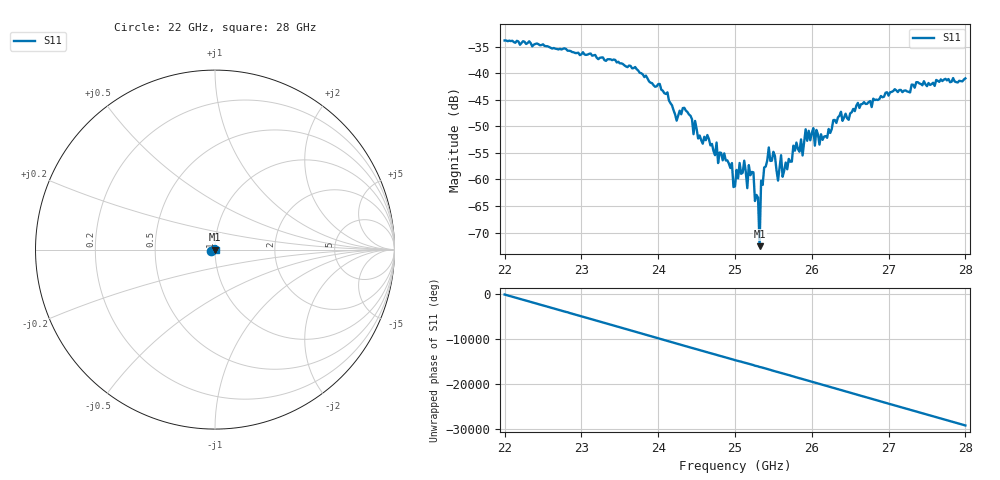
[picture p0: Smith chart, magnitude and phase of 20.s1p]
#  HZ  S  RI  R  50.00
! Rohde & Schwarz ZVA40 4Ports - Version 3.90 - 1145.1110k42 SN: 100403
! Date: 2023-10-04 08:36:26
! Measurement: S12
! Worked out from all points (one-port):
!   301 points, 22 GHz to 28 GHz, reference 50 ohm
!   lowest |S11| = -72.6 dB at 25.32 GHz (marker M1), VSWR 1.00, Z = 50 - j0.00782 ohm
!   |S11| at or under -10 dB: start of sweep to end of sweep
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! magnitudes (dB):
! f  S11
! 22 GHz  -33.8
! 22.76 GHz  -35.4
! 23.5 GHz  -38.1
! 24.02 GHz  -42.0
! 24.26 GHz  -48.0
! 24.76 GHz  -53.0
! 24.78 GHz  -56.9
! 24.96 GHz  -56.9
! 25 GHz  -61.3
! 25.06 GHz  -56.9
! 25.12 GHz  -56.5
! 25.16 GHz  -61.6
! 25.18 GHz  -57.3
! 25.24 GHz  -58.7
! 25.26 GHz  -64.1
! 25.3 GHz  -63.4
! 25.32 GHz  -72.6
! 25.34 GHz  -60.2
! 25.44 GHz  -54.0
! 25.56 GHz  -60.2
! 25.6 GHz  -55.4
! 25.62 GHz  -59.5
! 25.76 GHz  -53.6
! 25.88 GHz  -55.5
! 25.92 GHz  -50.5
! 26.5 GHz  -47.5
! 27.26 GHz  -43.5
! 28 GHz  -41.0
